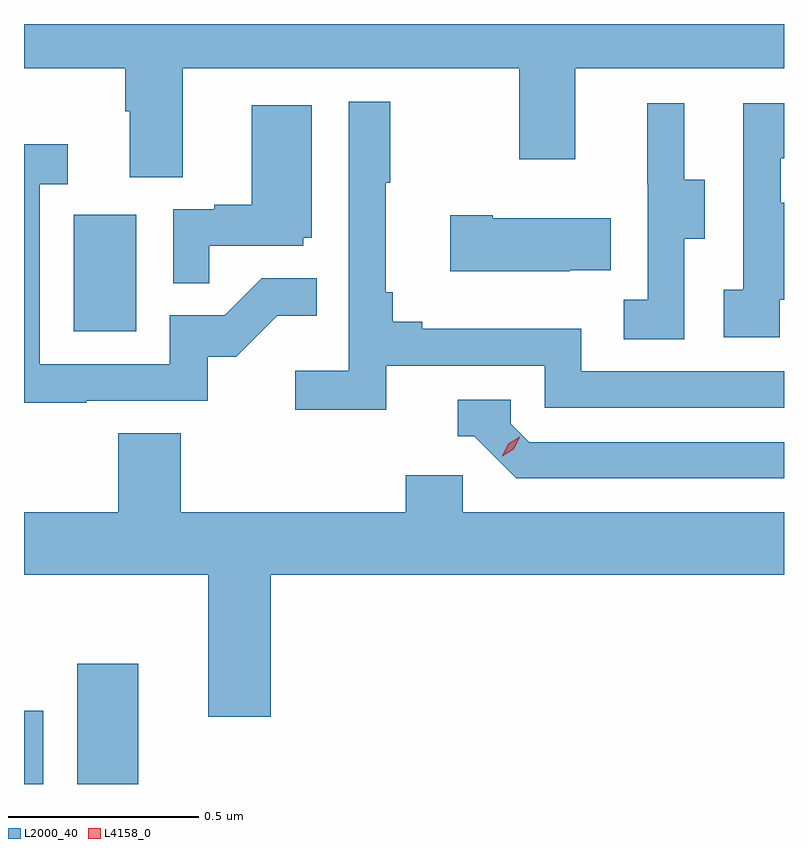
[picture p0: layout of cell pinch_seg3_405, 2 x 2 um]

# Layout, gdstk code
import gdstk
lib = gdstk.Library(unit=1e-6, precision=1e-09)
def R(c, l, rs):  # rectangles x0, y0, x1, y1
    for r in rs: c.add(gdstk.rectangle(r[:2], r[2:], *l))
def P(c, l, *ps):  # polygons
    for p in ps: c.add(gdstk.Polygon(p, *l))
L2000_40 = (2000, 40)
L4158_0 = (4158, 0)

pinch_seg3_405 = lib.new_cell('pinch_seg3_405')
R(pinch_seg3_405, L2000_40, [(895.791,689.709,895.842,689.902), (895.931,689.709,896.092,690.025), (895.922,690.9,896.086,691.207)])
P(pinch_seg3_405, L2000_40, [(896.209,691.592),(897.094,691.592),(897.094,691.353),(897.241,691.353),(897.241,691.592),(897.791,691.592),(897.791,691.709),(895.791,691.709),(895.791,691.592),(896.057,691.592),(896.057,691.48),(896.069,691.48),(896.069,691.306),(896.209,691.306)],
  [(896.744,690.81),(897.162,690.81),(897.162,690.699),(897.791,690.699),(897.791,690.795),(897.258,690.795),(897.258,690.907),(896.839,690.907),(896.839,690.926),(896.762,690.926),(896.762,691.003),(896.743,691.003),(896.743,691.291),(896.755,691.291),(896.755,691.504),(896.646,691.504),(896.646,690.796),(896.505,690.796),(896.505,690.694),(896.744,690.694)],
  [(897.78,690.983),(897.791,690.983),(897.791,691.238),(897.783,691.238),(897.783,691.356),(897.791,691.356),(897.791,691.501),(897.684,691.501),(897.684,691.01),(897.633,691.01),(897.633,690.885),(897.78,690.885)],
  [(897.528,691.144),(897.583,691.144),(897.583,691.299),(897.529,691.299),(897.529,691.501),(897.431,691.501),(897.431,691.287),(897.432,691.287),(897.432,690.983),(897.369,690.983),(897.369,690.88),(897.528,690.88)],
  [(896.279,691.125),(896.526,691.125),(896.526,691.146),(896.548,691.146),(896.548,691.495),(896.39,691.495),(896.39,691.234),(896.291,691.234),(896.291,691.221),(896.184,691.221),(896.184,691.027),(896.279,691.027)],
  [(895.955,690.717),(896.274,690.717),(896.274,690.834),(896.35,690.834),(896.457,690.941),(896.561,690.941),(896.561,691.04),(896.417,691.04),(896.319,690.942),(896.175,690.942),(896.175,690.813),(895.833,690.813),(895.833,691.287),(895.906,691.287),(895.906,691.393),(895.791,691.393),(895.791,690.712),(895.955,690.712)],
  [(897.227,691.061),(897.335,691.061),(897.335,691.198),(897.025,691.198),(897.025,691.206),(896.913,691.206),(896.913,691.058),(897.227,691.058)],
  [(897.791,690.609),(897.12,690.609),(897.072,690.657),(897.072,690.72),(896.933,690.72),(896.933,690.624),(896.976,690.624),(897.087,690.513),(897.791,690.513)],
  [(896.44,690.26),(897.791,690.26),(897.791,690.424),(896.946,690.424),(896.946,690.522),(896.795,690.522),(896.795,690.424),(896.204,690.424),(896.204,690.632),(896.039,690.632),(896.039,690.424),(895.791,690.424),(895.791,690.26),(896.276,690.26),(896.276,689.886),(896.44,689.886)])
P(pinch_seg3_405, L4158_0, [(897.049,690.571),(897.049,690.571),(897.065,690.604),(897.095,690.623),(897.096,690.623),(897.096,690.623),(897.08,690.59),(897.049,690.571)])

lib.write_gds('pinch_seg3_405.gds')
